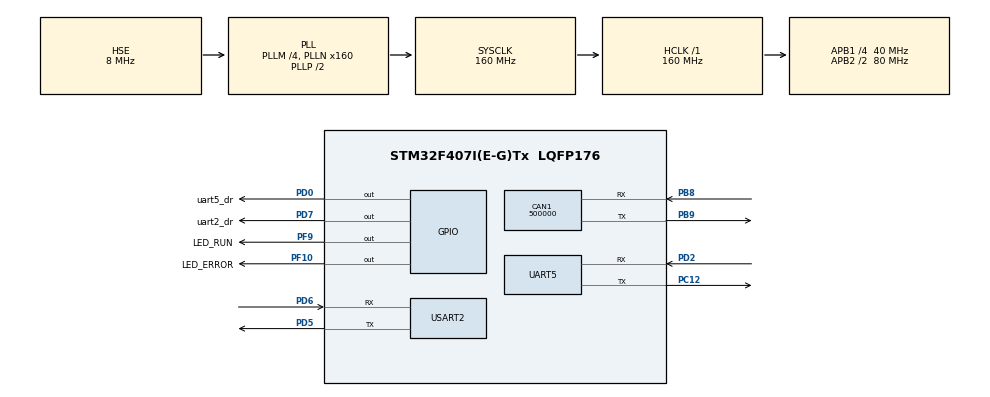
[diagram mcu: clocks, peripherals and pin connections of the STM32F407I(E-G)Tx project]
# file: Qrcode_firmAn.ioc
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CAN1.BS1=CAN_BS1_2TQ
CAN1.BS2=CAN_BS2_2TQ
CAN1.CalculateBaudRate=500000
CAN1.CalculateTimeBit=2000.00
CAN1.CalculateTimeQuantum=400.0
Mcu.Family=STM32F4
Mcu.Name=STM32F407I(E-G)Tx
Mcu.Package=LQFP176
NVIC.CAN1_RX0_IRQn=true\:0\:0\:false\:false\:true\:true\:true
NVIC.PriorityGroup=NVIC_PRIORITYGROUP_4
NVIC.UART5_IRQn=true\:0\:0\:false\:false\:true\:true\:true
NVIC.USART2_IRQn=true\:0\:0\:false\:false\:true\:true\:true
PA13.Mode=Serial_Wire
PA13.Signal=SYS_JTMS-SWDIO
PA14.Mode=Serial_Wire
PA14.Signal=SYS_JTCK-SWCLK
PB8.Mode=CAN_Activate
PB8.Signal=CAN1_RX
PB9.Mode=CAN_Activate
PB9.Signal=CAN1_TX
PC12.Mode=Asynchronous
PC12.Signal=UART5_TX
PD0.GPIO_Label=uart5_dr
PD0.Signal=GPIO_Output
PD2.Mode=Asynchronous
PD2.Signal=UART5_RX
PD5.Mode=Asynchronous
PD5.Signal=USART2_TX
PD6.Mode=Asynchronous
PD6.Signal=USART2_RX
PD7.GPIO_Label=uart2_dr
PD7.Signal=GPIO_Output
PF10.GPIO_Label=LED_ERROR
PF10.Signal=GPIO_Output
PF9.GPIO_Label=LED_RUN
PF9.Signal=GPIO_Output
PH0-OSC_IN.Mode=HSE-External-Oscillator
PH0-OSC_IN.Signal=RCC_OSC_IN
PH1-OSC_OUT.Mode=HSE-External-Oscillator
PH1-OSC_OUT.Signal=RCC_OSC_OUT
ProjectManager.HeapSize=0x200
ProjectManager.StackSize=0x400
ProjectManager.TargetToolchain=MDK-ARM V5.32
RCC.48MHZClocksFreq_Value=80000000
RCC.AHBFreq_Value=160000000
RCC.APB1CLKDivider=RCC_HCLK_DIV4
RCC.APB1Freq_Value=40000000
RCC.APB1TimFreq_Value=80000000
RCC.APB2CLKDivider=RCC_HCLK_DIV2
RCC.APB2Freq_Value=80000000
RCC.APB2TimFreq_Value=160000000
RCC.CortexFreq_Value=160000000
RCC.HCLKFreq_Value=160000000
RCC.HSE_VALUE=8000000
RCC.HSI_VALUE=16000000
RCC.LSE_VALUE=32768
RCC.PLLM=4
RCC.PLLN=160
RCC.PLLSourceVirtual=RCC_PLLSOURCE_HSE
RCC.SYSCLKFreq_VALUE=160000000
RCC.SYSCLKSource=RCC_SYSCLKSOURCE_PLLCLK
RCC.VCOOutputFreq_Value=320000000
UART5.Parity=PARITY_EVEN
UART5.VirtualMode=Asynchronous
UART5.WordLength=WORDLENGTH_9B
USART2.Parity=PARITY_EVEN
USART2.VirtualMode=VM_ASYNC
USART2.WordLength=WORDLENGTH_9B
board=custom

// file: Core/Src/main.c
/* USER CODE BEGIN Header */
/**
  ******************************************************************************
  * @file           : main.c
  * @brief          : Main program body
  ******************************************************************************
  * @attention
  *
  * <h2><center>&copy; Copyright (c) 2022 STMicroelectronics.
  * All rights reserved.</center></h2>
  *
  * This software component is licensed by ST under BSD 3-Clause license,
  * the "License"; You may not use this file except in compliance with the
  * License. You may obtain a copy of the License at:
  *                        opensource.org/licenses/BSD-3-Clause
  *
  ******************************************************************************
  */
/* USER CODE END Header */
#include "main.h"

/* USER CODE BEGIN Includes */

#include <motion.h>
#include <agv_info.h>
/* USER CODE END Includes */

CAN_HandleTypeDef hcan1;

UART_HandleTypeDef huart5;
UART_HandleTypeDef huart2;

void SystemClock_Config(void);
static void MX_GPIO_Init(void);
static void MX_CAN1_Init(void);
static void MX_UART5_Init(void);
static void MX_USART2_UART_Init(void);

/* USER CODE BEGIN 0 */
Camera_Typedef agv_CAM;
IMU_Typedef agv_Imu;
DEVICE_DEF agv_Device;
CHASSIC_DEF agv_Chassic;
Motion_Typedef agv_Motion;
POSE_Typedef agv_Pos;

/* USER CODE END 0 */

int main(void)
{

  /* MCU Configuration--------------------------------------------------------*/

  /* Reset of all peripherals, Initializes the Flash interface and the Systick. */
  HAL_Init();

  /* Configure the system clock */
  SystemClock_Config();

  /* Initialize all configured peripherals */
  MX_GPIO_Init();
  MX_CAN1_Init();
  MX_UART5_Init();
  MX_USART2_UART_Init();
  /* USER CODE BEGIN 2 */
	HAL_GPIO_WritePin(LED_RUN_GPIO_Port, LED_RUN_Pin,GPIO_PIN_SET);
	HAL_Delay(1000);
		AGV_init(&agv_Device,&agv_Chassic);
		Kinco_Init();
		IMU_Init();
		Kinco_Enable();
		CAMERA_Init();
		//IMU_SetZero();
		HAL_Delay(3000);

  /* USER CODE END 2 */
	HAL_GPIO_WritePin(LED_RUN_GPIO_Port, LED_RUN_Pin,GPIO_PIN_SET);
  /* Infinite loop */
  while (1)
  {

    /* USER CODE BEGIN 3 */
		//
		//while(CAMERA_Get(&agv_CAM)!= HAL_OK);
		IMU_GET(&agv_Imu);
		Control_rotate(&agv_Device,&agv_Chassic,&agv_Imu,&agv_CAM,Clockwise,20,90.0);
		//control_agv_distance(&agv_Device,&agv_Chassic,&agv_Imu,&agv_CAM,Straight,999,0.7,350);
  }
  /* USER CODE END 3 */
}

void SystemClock_Config(void)
{
  RCC_OscInitTypeDef RCC_OscInitStruct = {0};
  RCC_ClkInitTypeDef RCC_ClkInitStruct = {0};

  /** Configure the main internal regulator output voltage
  */
  __HAL_RCC_PWR_CLK_ENABLE();
  __HAL_PWR_VOLTAGESCALING_CONFIG(PWR_REGULATOR_VOLTAGE_SCALE1);
  /** Initializes the RCC Oscillators according to the specified parameters
  * in the RCC_OscInitTypeDef structure.
  */
  RCC_OscInitStruct.OscillatorType = RCC_OSCILLATORTYPE_HSE;
  RCC_OscInitStruct.HSEState = RCC_HSE_ON;
  RCC_OscInitStruct.PLL.PLLState = RCC_PLL_ON;
  RCC_OscInitStruct.PLL.PLLSource = RCC_PLLSOURCE_HSE;
  RCC_OscInitStruct.PLL.PLLM = 4;
  RCC_OscInitStruct.PLL.PLLN = 160;
  RCC_OscInitStruct.PLL.PLLP = RCC_PLLP_DIV2;
  RCC_OscInitStruct.PLL.PLLQ = 4;
  if (HAL_RCC_OscConfig(&RCC_OscInitStruct) != HAL_OK)
  {
    Error_Handler();
  }
  /** Initializes the CPU, AHB and APB buses clocks
  */
  RCC_ClkInitStruct.ClockType = RCC_CLOCKTYPE_HCLK|RCC_CLOCKTYPE_SYSCLK
                              |RCC_CLOCKTYPE_PCLK1|RCC_CLOCKTYPE_PCLK2;
  RCC_ClkInitStruct.SYSCLKSource = RCC_SYSCLKSOURCE_PLLCLK;
  RCC_ClkInitStruct.AHBCLKDivider = RCC_SYSCLK_DIV1;
  RCC_ClkInitStruct.APB1CLKDivider = RCC_HCLK_DIV4;
  RCC_ClkInitStruct.APB2CLKDivider = RCC_HCLK_DIV2;

  if (HAL_RCC_ClockConfig(&RCC_ClkInitStruct, FLASH_LATENCY_5) != HAL_OK)
  {
    Error_Handler();
  }
}

static void MX_CAN1_Init(void)
{

  hcan1.Instance = CAN1;
  hcan1.Init.Prescaler = 16;
  hcan1.Init.Mode = CAN_MODE_NORMAL;
  hcan1.Init.SyncJumpWidth = CAN_SJW_1TQ;
  hcan1.Init.TimeSeg1 = CAN_BS1_2TQ;
  hcan1.Init.TimeSeg2 = CAN_BS2_2TQ;
  hcan1.Init.TimeTriggeredMode = DISABLE;
  hcan1.Init.AutoBusOff = DISABLE;
  hcan1.Init.AutoWakeUp = DISABLE;
  hcan1.Init.AutoRetransmission = DISABLE;
  hcan1.Init.ReceiveFifoLocked = DISABLE;
  hcan1.Init.TransmitFifoPriority = DISABLE;
  if (HAL_CAN_Init(&hcan1) != HAL_OK)
  {
    Error_Handler();
  }
  /* USER CODE BEGIN CAN1_Init 2 */
	CAN_FilterTypeDef	canFilterconfig;

	canFilterconfig.FilterActivation			=	CAN_FILTER_ENABLE;
	canFilterconfig.FilterBank						=	18;
	canFilterconfig.FilterFIFOAssignment	=	CAN_FilterFIFO0;
	canFilterconfig.FilterIdHigh					= 0x80<<5;
	canFilterconfig.FilterIdLow						= 0x00;
	canFilterconfig.FilterMaskIdHigh			=	0x80<<5;
	canFilterconfig.FilterMaskIdLow				= 0x0000;
	canFilterconfig.FilterMode						= CAN_FILTERMODE_IDMASK;
	canFilterconfig.FilterScale						=	CAN_FILTERSCALE_32BIT;
	canFilterconfig.SlaveStartFilterBank	= 20;

	HAL_CAN_ConfigFilter(&hcan1, &canFilterconfig);
  /* USER CODE END CAN1_Init 2 */

}

static void MX_UART5_Init(void)
{

  huart5.Instance = UART5;
  huart5.Init.BaudRate = 115200;
  huart5.Init.WordLength = UART_WORDLENGTH_9B;
  huart5.Init.StopBits = UART_STOPBITS_1;
  huart5.Init.Parity = UART_PARITY_EVEN;
  huart5.Init.Mode = UART_MODE_TX_RX;
  huart5.Init.HwFlowCtl = UART_HWCONTROL_NONE;
  huart5.Init.OverSampling = UART_OVERSAMPLING_16;
  if (HAL_UART_Init(&huart5) != HAL_OK)
  {
    Error_Handler();
  }
  /* USER CODE BEGIN UART5_Init 2 */
	__HAL_UART_ENABLE_IT(&huart5,UART_IT_RXNE);
  /* USER CODE END UART5_Init 2 */

}

static void MX_USART2_UART_Init(void)
{

  huart2.Instance = USART2;
  huart2.Init.BaudRate = 115200;
  huart2.Init.WordLength = UART_WORDLENGTH_9B;
  huart2.Init.StopBits = UART_STOPBITS_1;
  huart2.Init.Parity = UART_PARITY_EVEN;
  huart2.Init.Mode = UART_MODE_TX_RX;
  huart2.Init.HwFlowCtl = UART_HWCONTROL_NONE;
  huart2.Init.OverSampling = UART_OVERSAMPLING_16;
  if (HAL_UART_Init(&huart2) != HAL_OK)
  {
    Error_Handler();
  }

}

static void MX_GPIO_Init(void)
{
  GPIO_InitTypeDef GPIO_InitStruct = {0};

  /* GPIO Ports Clock Enable */
  __HAL_RCC_GPIOF_CLK_ENABLE();
  __HAL_RCC_GPIOH_CLK_ENABLE();
  __HAL_RCC_GPIOA_CLK_ENABLE();
  __HAL_RCC_GPIOC_CLK_ENABLE();
  __HAL_RCC_GPIOD_CLK_ENABLE();
  __HAL_RCC_GPIOB_CLK_ENABLE();

  /*Configure GPIO pin Output Level */
  HAL_GPIO_WritePin(GPIOF, LED_RUN_Pin|LED_ERROR_Pin, GPIO_PIN_RESET);

  /*Configure GPIO pin Output Level */
  HAL_GPIO_WritePin(GPIOD, uart5_dr_Pin|uart2_dr_Pin, GPIO_PIN_RESET);

  /*Configure GPIO pins : LED_RUN_Pin LED_ERROR_Pin */
  GPIO_InitStruct.Pin = LED_RUN_Pin|LED_ERROR_Pin;
  GPIO_InitStruct.Mode = GPIO_MODE_OUTPUT_PP;
  GPIO_InitStruct.Pull = GPIO_NOPULL;
  GPIO_InitStruct.Speed = GPIO_SPEED_FREQ_LOW;
  HAL_GPIO_Init(GPIOF, &GPIO_InitStruct);

  /*Configure GPIO pins : uart5_dr_Pin uart2_dr_Pin */
  GPIO_InitStruct.Pin = uart5_dr_Pin|uart2_dr_Pin;
  GPIO_InitStruct.Mode = GPIO_MODE_OUTPUT_PP;
  GPIO_InitStruct.Pull = GPIO_NOPULL;
  GPIO_InitStruct.Speed = GPIO_SPEED_FREQ_LOW;
  HAL_GPIO_Init(GPIOD, &GPIO_InitStruct);

}

void Error_Handler(void)
{
  __disable_irq();
  while (1)
  {
  }
}

/************************ (C) COPYRIGHT STMicroelectronics *****END OF FILE****/
